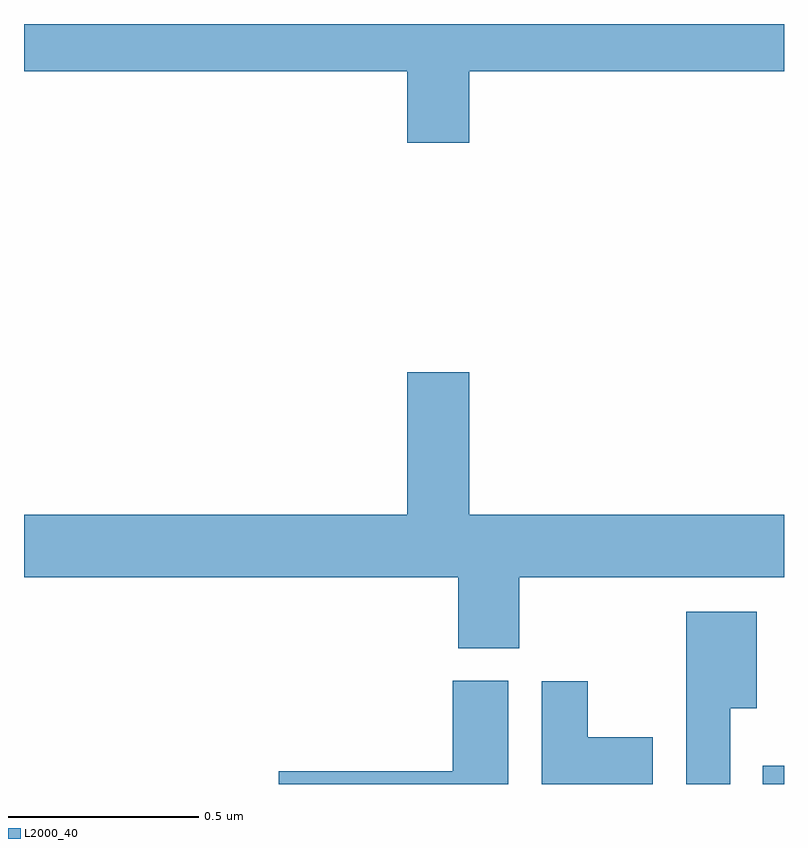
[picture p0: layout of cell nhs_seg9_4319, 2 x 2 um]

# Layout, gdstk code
import gdstk
lib = gdstk.Library(unit=1e-6, precision=1e-09)
def R(c, l, rs):  # rectangles x0, y0, x1, y1
    for r in rs: c.add(gdstk.rectangle(r[:2], r[2:], *l))
def P(c, l, *ps):  # polygons
    for p in ps: c.add(gdstk.Polygon(p, *l))
L2000_40 = (2000, 40)

nhs_seg9_4319 = lib.new_cell('nhs_seg9_4319')
R(nhs_seg9_4319, L2000_40, [(165.944,1238.5,166,1238.548)])
P(nhs_seg9_4319, L2000_40, [(165.172,1240.376),(166,1240.376),(166,1240.5),(164,1240.5),(164,1240.376),(165.008,1240.376),(165.008,1240.188),(165.172,1240.188)],
  [(165.303,1239.044),(166,1239.044),(166,1239.208),(165.172,1239.208),(165.172,1239.583),(165.008,1239.583),(165.008,1239.208),(164,1239.208),(164,1239.044),(165.143,1239.044),(165.143,1238.857),(165.303,1238.857)],
  [(165.859,1238.699),(165.928,1238.699),(165.928,1238.953),(165.743,1238.953),(165.743,1238.5),(165.859,1238.5)],
  [(165.274,1238.772),(165.128,1238.772),(165.128,1238.534),(164.67,1238.534),(164.67,1238.5),(165.274,1238.5)],
  [(165.655,1238.623),(165.484,1238.623),(165.484,1238.77),(165.362,1238.77),(165.362,1238.5),(165.655,1238.5)])

lib.write_gds('nhs_seg9_4319.gds')
